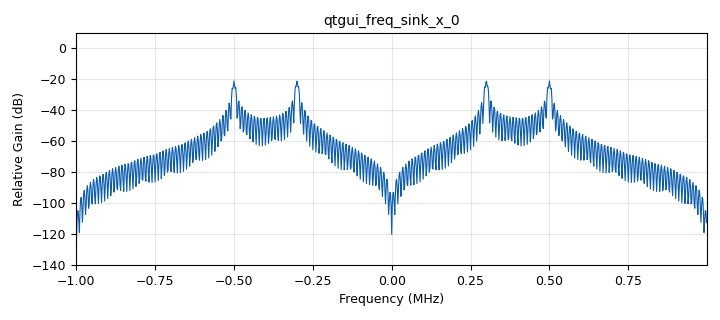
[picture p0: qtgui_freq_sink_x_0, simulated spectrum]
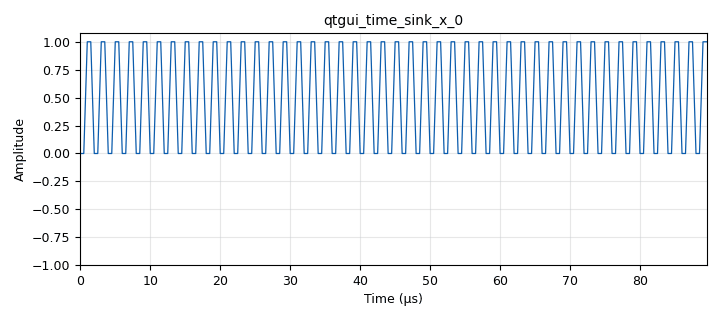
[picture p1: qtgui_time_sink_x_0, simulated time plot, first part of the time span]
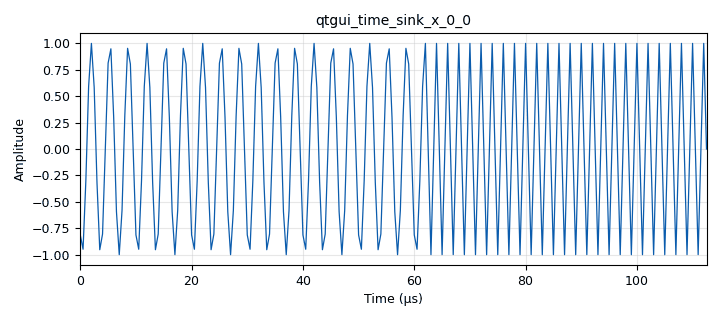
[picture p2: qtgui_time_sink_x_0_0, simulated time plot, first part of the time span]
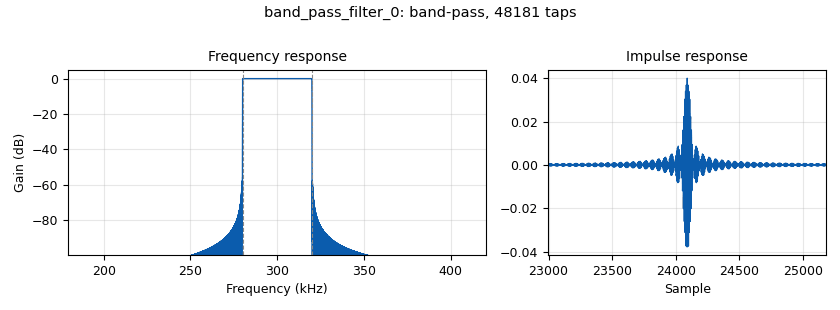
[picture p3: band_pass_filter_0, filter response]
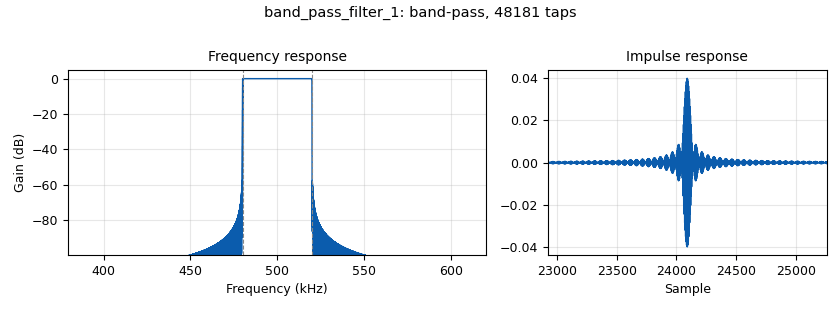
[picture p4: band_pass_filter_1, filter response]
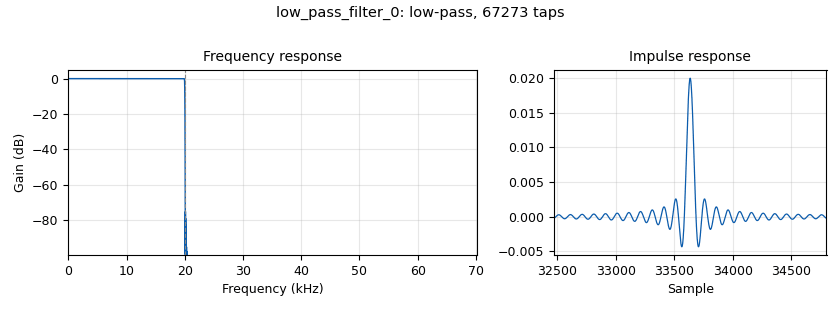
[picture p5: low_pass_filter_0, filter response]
options:
  parameters:
    author: ubuntu
    generate_options: qt_gui
    id: demo01_2
    output_language: python
    title: Not titled yet
  states: {}

blocks:
- name: samp_rate
  id: variable
  parameters:
    value: '2000000'
  states: {}
- name: analog_const_source_x_0
  id: analog_const_source_x
  parameters:
    const: '1'
    type: float
  states: {}
- name: analog_noise_source_x_0
  id: analog_noise_source_x
  parameters:
    amp: '0.2'
    noise_type: analog.GR_GAUSSIAN
    seed: '0'
    type: float
  states: {}
- name: analog_sig_source_x_0
  id: analog_sig_source_x
  parameters:
    amp: '1'
    freq: '1000'
    offset: '0'
    phase: '0'
    samp_rate: samp_rate
    type: complex
    waveform: analog.GR_COS_WAVE
  states: {state: disabled}
- name: analog_sig_source_x_1
  id: analog_sig_source_x
  parameters:
    amp: '1'
    freq: '500000'
    offset: '0'
    phase: '0'
    samp_rate: samp_rate
    type: float
    waveform: analog.GR_COS_WAVE
  states: {}
- name: analog_sig_source_x_2
  id: analog_sig_source_x
  parameters:
    amp: '1'
    freq: '300000'
    offset: '0'
    phase: '0'
    samp_rate: samp_rate
    type: float
    waveform: analog.GR_COS_WAVE
  states: {}
- name: analog_sig_source_x_3
  id: analog_sig_source_x
  parameters:
    amp: '1'
    freq: '300000'
    offset: '0'
    phase: '0'
    samp_rate: samp_rate
    type: float
    waveform: analog.GR_COS_WAVE
  states: {}
- name: analog_sig_source_x_4
  id: analog_sig_source_x
  parameters:
    amp: '1'
    freq: '500000'
    offset: '0'
    phase: '0'
    samp_rate: samp_rate
    type: float
    waveform: analog.GR_COS_WAVE
  states: {}
- name: band_pass_filter_0
  id: band_pass_filter
  parameters:
    decim: '1'
    gain: '1'
    high_cutoff_freq: '320000'
    low_cutoff_freq: '280000'
    samp_rate: samp_rate
    type: fir_filter_fff
    width: '100'
    win: firdes.WIN_HAMMING
  states: {}
- name: band_pass_filter_1
  id: band_pass_filter
  parameters:
    decim: '1'
    gain: '1'
    high_cutoff_freq: '520000'
    low_cutoff_freq: '480000'
    samp_rate: samp_rate
    type: fir_filter_fff
    width: '100'
    win: firdes.WIN_HAMMING
  states: {}
- name: blocks_abs_xx_0
  id: blocks_abs_xx
  parameters:
    type: float
  states: {}
- name: blocks_add_xx_0
  id: blocks_add_xx
  parameters:
    type: float
  states: {}
- name: blocks_add_xx_0_0
  id: blocks_add_xx
  parameters:
    type: float
  states: {}
- name: blocks_char_to_float_0
  id: blocks_char_to_float
  parameters:
    scale: '1'
  states: {}
- name: blocks_char_to_float_0_0
  id: blocks_char_to_float
  parameters:
    scale: '1'
  states: {}
- name: blocks_keep_one_in_n_0
  id: blocks_keep_one_in_n
  parameters:
    type: float
  states: {}
- name: blocks_multiply_xx_0
  id: blocks_multiply_xx
  parameters:
    type: float
  states: {}
- name: blocks_multiply_xx_0_0
  id: blocks_multiply_xx
  parameters:
    type: float
  states: {}
- name: blocks_multiply_xx_1
  id: blocks_multiply_xx
  parameters:
    type: float
  states: {}
- name: blocks_multiply_xx_1_0
  id: blocks_multiply_xx
  parameters:
    type: float
  states: {}
- name: blocks_repeat_0
  id: blocks_repeat
  parameters:
    interp: '100'
    type: byte
  states: {}
- name: blocks_sub_xx_0
  id: blocks_sub_xx
  parameters:
    type: float
  states: {}
- name: blocks_sub_xx_1
  id: blocks_sub_xx
  parameters:
    type: float
  states: {}
- name: blocks_threshold_ff_0
  id: blocks_threshold_ff
  parameters:
    high: '100'
    init: '0'
    low: '-100'
  states: {}
- name: blocks_vector_source_x_0
  id: blocks_vector_source_x
  parameters:
    repeat: 'True'
    type: byte
    vector: (1, 0, 0, 1)
  states: {}
- name: low_pass_filter_0
  id: low_pass_filter
  parameters:
    cutoff_freq: '20000'
    decim: '1'
    gain: '1'
    samp_rate: samp_rate
    type: fir_filter_fff
    width: '100'
    win: firdes.WIN_BLACKMAN
  states: {}
- name: low_pass_filter_0_0
  id: low_pass_filter
  parameters:
    cutoff_freq: '20000'
    decim: '1'
    gain: '1'
    samp_rate: samp_rate
    type: fir_filter_fff
    width: '100'
    win: firdes.WIN_BLACKMAN
  states: {}
- name: qtgui_freq_sink_x_0
  id: qtgui_freq_sink_x
  parameters:
    bw: samp_rate
    fc: '0'
    fftsize: '1024'
    type: float
    wintype: firdes.WIN_BLACKMAN_hARRIS
  states: {}
- name: qtgui_time_sink_x_0
  id: qtgui_time_sink_x
  parameters:
    size: '1024'
    srate: samp_rate
    type: float
  states: {}
- name: qtgui_time_sink_x_0_0
  id: qtgui_time_sink_x
  parameters:
    autoscale: 'True'
    size: '1024'
    srate: samp_rate
    type: float
  states: {}
- name: qtgui_time_sink_x_1
  id: qtgui_time_sink_x
  parameters:
    autoscale: 'True'
    size: '1024'
    srate: samp_rate
    type: float
  states: {}
- name: virtual_sink_0
  id: virtual_sink
  parameters:
    stream_id: FSK
  states: {}
- name: virtual_source_0
  id: virtual_source
  parameters:
    stream_id: FSK
  states: {}

connections:
- [analog_const_source_x_0, '0', blocks_sub_xx_0, '1']
- [analog_noise_source_x_0, '0', blocks_add_xx_0_0, '1']
- [analog_sig_source_x_1, '0', blocks_multiply_xx_0_0, '1']
- [analog_sig_source_x_2, '0', blocks_multiply_xx_0, '1']
- [analog_sig_source_x_3, '0', blocks_multiply_xx_1, '1']
- [analog_sig_source_x_4, '0', blocks_multiply_xx_1_0, '1']
- [band_pass_filter_0, '0', blocks_multiply_xx_1, '0']
- [band_pass_filter_1, '0', blocks_multiply_xx_1_0, '0']
- [blocks_abs_xx_0, '0', blocks_multiply_xx_0, '0']
- [blocks_add_xx_0, '0', blocks_add_xx_0_0, '0']
- [blocks_add_xx_0, '0', qtgui_freq_sink_x_0, '0']
- [blocks_add_xx_0, '0', qtgui_time_sink_x_0_0, '0']
- [blocks_add_xx_0_0, '0', virtual_sink_0, '0']
- [blocks_char_to_float_0, '0', blocks_multiply_xx_0_0, '0']
- [blocks_char_to_float_0, '0', blocks_sub_xx_0, '0']
- [blocks_char_to_float_0_0, '0', qtgui_time_sink_x_0, '0']
- [blocks_keep_one_in_n_0, '0', qtgui_time_sink_x_1, '0']
- [blocks_multiply_xx_0, '0', blocks_add_xx_0, '0']
- [blocks_multiply_xx_0_0, '0', blocks_add_xx_0, '1']
- [blocks_multiply_xx_1, '0', low_pass_filter_0, '0']
- [blocks_multiply_xx_1_0, '0', low_pass_filter_0_0, '0']
- [blocks_repeat_0, '0', blocks_char_to_float_0, '0']
- [blocks_sub_xx_0, '0', blocks_abs_xx_0, '0']
- [blocks_sub_xx_1, '0', blocks_threshold_ff_0, '0']
- [blocks_threshold_ff_0, '0', blocks_keep_one_in_n_0, '0']
- [blocks_vector_source_x_0, '0', blocks_char_to_float_0_0, '0']
- [blocks_vector_source_x_0, '0', blocks_repeat_0, '0']
- [low_pass_filter_0, '0', blocks_sub_xx_1, '0']
- [low_pass_filter_0_0, '0', blocks_sub_xx_1, '1']
- [virtual_source_0, '0', band_pass_filter_0, '0']
- [virtual_source_0, '0', band_pass_filter_1, '0']

metadata:
  file_format: 1
